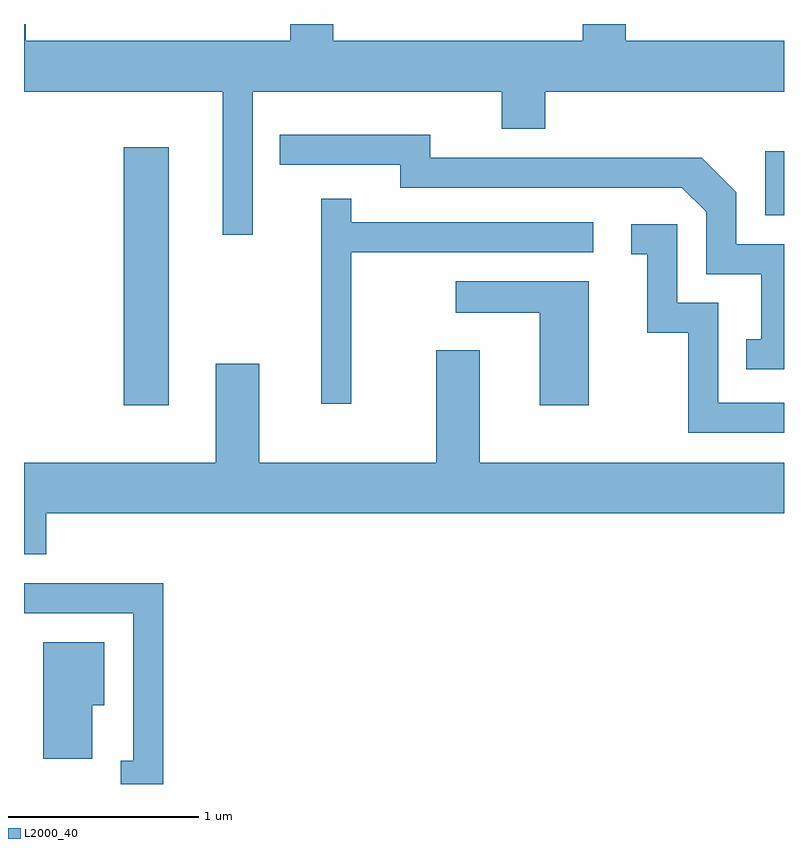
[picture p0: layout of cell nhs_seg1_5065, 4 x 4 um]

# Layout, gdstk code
import gdstk
lib = gdstk.Library(unit=1e-6, precision=1e-09)
def R(c, l, rs):  # rectangles x0, y0, x1, y1
    for r in rs: c.add(gdstk.rectangle(r[:2], r[2:], *l))
def P(c, l, *ps):  # polygons
    for p in ps: c.add(gdstk.Polygon(p, *l))
L2000_40 = (2000, 40)

nhs_seg1_5065 = lib.new_cell('nhs_seg1_5065')
R(nhs_seg1_5065, L2000_40, [(338.136,895.706,338.374,897.064), (341.511,896.706,341.611,897.043)])
P(nhs_seg1_5065, L2000_40, [(338.814,897.356),(340.126,897.356),(340.126,897.161),(340.354,897.161),(340.354,897.356),(341.611,897.356),(341.611,897.624),(340.779,897.624),(340.779,897.712),(340.551,897.712),(340.551,897.624),(339.239,897.624),(339.239,897.712),(339.011,897.712),(339.011,897.624),(337.619,897.624),(337.619,897.712),(337.611,897.712),(337.611,897.356),(338.656,897.356),(338.656,896.603),(338.814,896.603)],
  [(341.611,896.554),(341.359,896.554),(341.359,896.827),(341.177,897.009),(339.749,897.009),(339.749,897.129),(338.958,897.129),(338.958,896.971),(339.591,896.971),(339.591,896.851),(341.074,896.851),(341.201,896.724),(341.201,896.396),(341.491,896.396),(341.491,896.054),(341.413,896.054),(341.413,895.896),(341.611,895.896)],
  [(339.334,896.511),(340.608,896.511),(340.608,896.669),(339.334,896.669),(339.334,896.793),(339.176,896.793),(339.176,895.713),(339.334,895.713)],
  [(341.611,895.719),(341.264,895.719),(341.264,896.244),(341.049,896.244),(341.049,896.659),(340.808,896.659),(340.808,896.501),(340.891,896.501),(340.891,896.086),(341.106,896.086),(341.106,895.561),(341.611,895.561)],
  [(340.584,896.359),(339.883,896.359),(339.883,896.191),(340.326,896.191),(340.326,895.706),(340.584,895.706)],
  [(337.729,895.136),(341.611,895.136),(341.611,895.404),(340.009,895.404),(340.009,895.994),(339.781,895.994),(339.781,895.404),(338.849,895.404),(338.849,895.924),(338.621,895.924),(338.621,895.404),(337.611,895.404),(337.611,894.921),(337.729,894.921)],
  [(338.344,894.769),(337.611,894.769),(337.611,894.611),(338.186,894.611),(338.186,893.834),(338.121,893.834),(338.121,893.712),(338.344,893.712)],
  [(337.969,894.126),(338.034,894.126),(338.034,894.459),(337.711,894.459),(337.711,893.846),(337.969,893.846)])

lib.write_gds('nhs_seg1_5065.gds')
